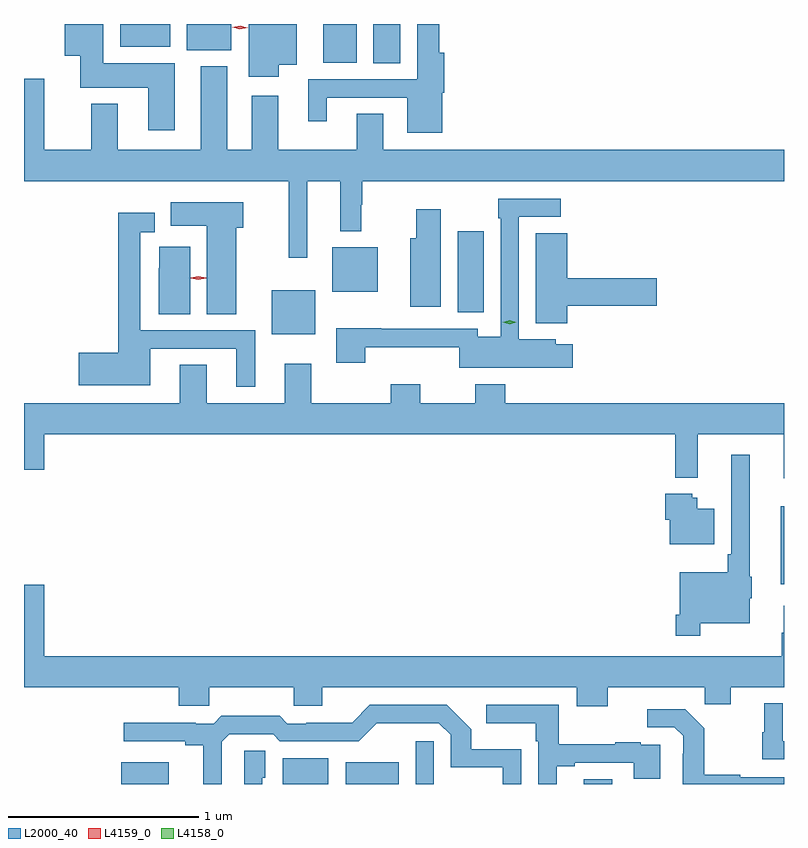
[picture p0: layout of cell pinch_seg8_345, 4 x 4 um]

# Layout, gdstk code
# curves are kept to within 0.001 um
import gdstk
lib = gdstk.Library(unit=1e-6, precision=1e-09)
def R(c, l, rs):  # rectangles x0, y0, x1, y1
    for r in rs: c.add(gdstk.rectangle(r[:2], r[2:], *l))
def P(c, l, *ps):  # polygons
    for p in ps: c.add(gdstk.Polygon(p, *l))
L2000_40 = (2000, 40)
L4158_0 = (4158, 0)
L4159_0 = (4159, 0)

pinch_seg8_345 = lib.new_cell('pinch_seg8_345')
R(pinch_seg8_345, L2000_40, [(453.29,1153.287,453.541,1153.402), (454.139,1153.287,454.378,1153.423), (454.472,1153.287,454.75,1153.402), (454.839,1153.287,454.935,1153.513), (455.723,1153.287,455.875,1153.313), (456.761,1154.339,456.778,1154.749), (454.082,1155.653,454.312,1155.886), (455.06,1155.769,455.197,1156.195), (454.4,1155.878,454.639,1156.111), (454.616,1157.08,454.759,1157.287), (454.352,1157.084,454.528,1157.287), (453.635,1157.15,453.868,1157.287), (453.284,1157.168,453.547,1157.287)])
P(pinch_seg8_345, L2000_40, [(454.12,1157.072),(454.213,1157.072),(454.213,1157.287),(453.962,1157.287),(453.962,1157.01),(454.12,1157.01)],
  [(453.571,1157.08),(453.196,1157.08),(453.196,1157.287),(452.993,1157.287),(452.993,1157.12),(453.074,1157.12),(453.074,1156.952),(453.431,1156.952),(453.431,1156.728),(453.571,1156.728)],
  [(454.978,1156.926),(454.991,1156.926),(454.991,1157.137),(454.964,1157.137),(454.964,1157.287),(454.848,1157.287),(454.848,1156.995),(454.274,1156.995),(454.274,1156.776),(454.372,1156.776),(454.372,1156.899),(454.796,1156.899),(454.796,1156.715),(454.978,1156.715)],
  [(454.27,1156.46),(454.442,1156.46),(454.442,1156.197),(454.552,1156.197),(454.552,1156.337),(454.559,1156.337),(454.559,1156.46),(456.778,1156.46),(456.778,1156.624),(454.669,1156.624),(454.669,1156.814),(454.529,1156.814),(454.529,1156.624),(454.117,1156.624),(454.117,1156.909),(453.977,1156.909),(453.977,1156.624),(453.847,1156.624),(453.847,1157.065),(453.707,1157.065),(453.707,1156.624),(453.271,1156.624),(453.271,1156.867),(453.131,1156.867),(453.131,1156.624),(452.884,1156.624),(452.884,1156.999),(452.778,1156.999),(452.778,1156.46),(454.171,1156.46),(454.171,1156.056),(454.27,1156.056)],
  [(455.665,1155.601),(455.577,1155.601),(455.577,1155.628),(455.382,1155.628),(455.382,1156.272),(455.602,1156.272),(455.602,1156.368),(455.274,1156.368),(455.274,1156.265),(455.286,1156.265),(455.286,1155.64),(455.166,1155.64),(455.166,1155.684),(454.657,1155.684),(454.657,1155.686),(454.421,1155.686),(454.421,1155.504),(454.574,1155.504),(454.574,1155.587),(455.07,1155.587),(455.07,1155.479),(455.665,1155.479)],
  [(453.895,1156.214),(453.931,1156.214),(453.931,1156.348),(453.55,1156.348),(453.55,1156.226),(453.74,1156.226),(453.74,1155.76),(453.895,1155.76)],
  [(454.972,1156.312),(454.843,1156.312),(454.843,1156.159),(454.811,1156.159),(454.811,1155.798),(454.972,1155.798)],
  [(453.994,1155.675),(453.39,1155.675),(453.39,1156.19),(453.465,1156.19),(453.465,1156.294),(453.274,1156.294),(453.274,1155.557),(453.066,1155.557),(453.066,1155.386),(453.442,1155.386),(453.442,1155.579),(453.896,1155.579),(453.896,1155.378),(453.994,1155.378)],
  [(455.638,1155.803),(456.109,1155.803),(456.109,1155.95),(455.638,1155.95),(455.638,1156.187),(455.471,1156.187),(455.471,1155.713),(455.638,1155.713)],
  [(453.652,1156.114),(453.49,1156.114),(453.49,1156.001),(453.488,1156.001),(453.488,1155.76),(453.652,1155.76)],
  [(456.778,1155.292),(455.312,1155.292),(455.312,1155.391),(455.152,1155.391),(455.152,1155.292),(454.863,1155.292),(454.863,1155.391),(454.708,1155.391),(454.708,1155.292),(454.291,1155.292),(454.291,1155.499),(454.151,1155.499),(454.151,1155.292),(453.739,1155.292),(453.739,1155.494),(453.599,1155.494),(453.599,1155.292),(452.778,1155.292),(452.778,1154.94),(452.884,1154.94),(452.884,1155.128),(456.205,1155.128),(456.205,1154.9),(456.323,1154.9),(456.323,1155.128),(456.776,1155.128),(456.776,1154.895),(456.778,1154.895)],
  [(456.337,1154.132),(456.598,1154.132),(456.598,1154.265),(456.607,1154.265),(456.607,1154.379),(456.598,1154.379),(456.598,1155.019),(456.501,1155.019),(456.501,1154.497),(456.481,1154.497),(456.481,1154.401),(456.228,1154.401),(456.228,1154.179),(456.208,1154.179),(456.208,1154.067),(456.337,1154.067)],
  [(456.412,1154.737),(456.322,1154.737),(456.322,1154.793),(456.294,1154.793),(456.294,1154.815),(456.152,1154.815),(456.152,1154.679),(456.176,1154.679),(456.176,1154.549),(456.412,1154.549)],
  [(455.851,1153.796),(456.361,1153.796),(456.361,1153.706),(456.499,1153.706),(456.499,1153.796),(456.778,1153.796),(456.778,1154.224),(456.776,1154.224),(456.776,1154.084),(456.765,1154.084),(456.765,1153.96),(452.884,1153.96),(452.884,1154.335),(452.778,1154.335),(452.778,1153.796),(453.593,1153.796),(453.593,1153.698),(453.753,1153.698),(453.753,1153.796),(454.198,1153.796),(454.198,1153.698),(454.348,1153.698),(454.348,1153.796),(455.687,1153.796),(455.687,1153.697),(455.851,1153.697)],
  [(456.778,1153.512),(456.772,1153.512),(456.772,1153.711),(456.674,1153.711),(456.674,1153.56),(456.663,1153.56),(456.663,1153.416),(456.778,1153.416)],
  [(455.581,1153.38),(455.677,1153.38),(455.677,1153.398),(455.987,1153.398),(455.987,1153.314),(456.127,1153.314),(456.127,1153.494),(456.023,1153.494),(456.023,1153.507),(455.891,1153.507),(455.891,1153.496),(455.593,1153.496),(455.593,1153.704),(455.211,1153.704),(455.211,1153.607),(455.472,1153.607),(455.472,1153.511),(455.484,1153.511),(455.484,1153.287),(455.581,1153.287)],
  [(453.819,1153.509),(453.858,1153.548),(454.089,1153.548),(454.125,1153.512),(454.539,1153.512),(454.634,1153.607),(454.962,1153.608),(455.025,1153.545),(455.025,1153.374),(455.298,1153.374),(455.298,1153.287),(455.394,1153.287),(455.394,1153.471),(455.133,1153.471),(455.133,1153.574),(455.002,1153.704),(454.599,1153.704),(454.505,1153.61),(454.264,1153.61),(454.264,1153.605),(454.164,1153.605),(454.125,1153.645),(453.817,1153.645),(453.777,1153.605),(453.683,1153.605),(453.683,1153.61),(453.303,1153.61),(453.303,1153.512),(453.626,1153.512),(453.626,1153.49),(453.722,1153.49),(453.722,1153.287),(453.819,1153.287)],
  [(456.778,1153.323),(456.549,1153.323),(456.549,1153.336),(456.357,1153.336),(456.357,1153.581),(456.257,1153.681),(456.057,1153.681),(456.057,1153.587),(456.201,1153.587),(456.248,1153.54),(456.248,1153.445),(456.246,1153.445),(456.246,1153.287),(456.778,1153.287)],
  [(454.032,1153.32),(454.048,1153.32),(454.048,1153.463),(453.936,1153.463),(453.936,1153.287),(454.032,1153.287)])
P(pinch_seg8_345, L4158_0, [(455.334,1155.707),(455.299,1155.718),(455.299,1155.718),(455.299,1155.718),(455.334,1155.727),(455.368,1155.717),(455.369,1155.717),(455.368,1155.716)])
P(pinch_seg8_345, L4159_0, [(453.914,1157.259),(453.874,1157.27),(453.874,1157.27),(453.874,1157.27),(453.915,1157.279),(453.955,1157.268),(453.955,1157.268),(453.955,1157.268)],
  [(453.696,1155.94),(453.655,1155.95),(453.655,1155.95),(453.655,1155.951),(453.696,1155.96),(453.736,1155.951),(453.736,1155.95),(453.736,1155.95)])

lib.write_gds('pinch_seg8_345.gds')
